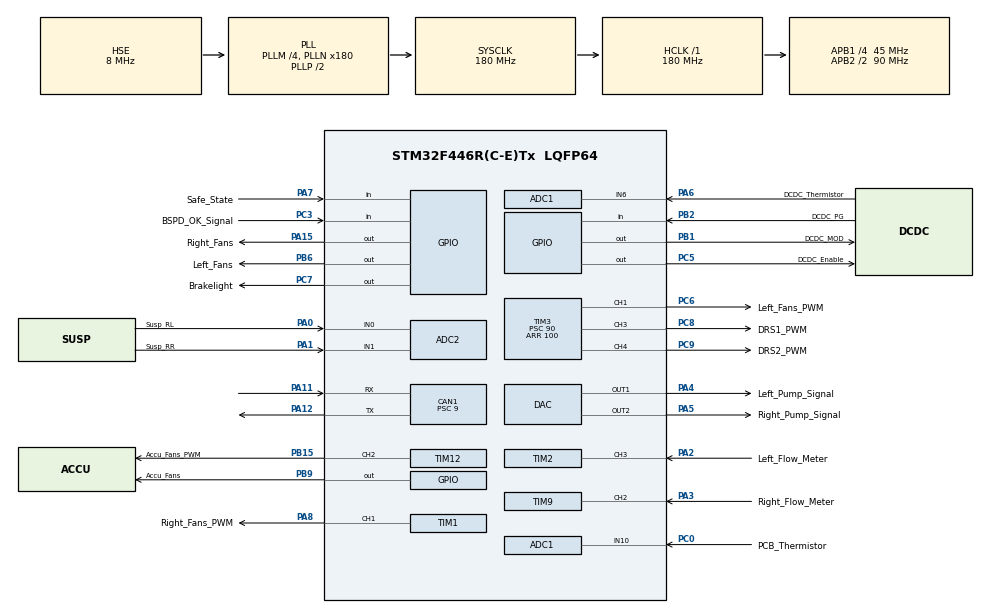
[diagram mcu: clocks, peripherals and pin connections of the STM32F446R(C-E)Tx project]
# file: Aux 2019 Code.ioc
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ADC1.Channel-0\#ChannelRegularConversion=ADC_CHANNEL_6
ADC1.Channel-1\#ChannelRegularConversion=ADC_CHANNEL_10
ADC1.Channel-2\#ChannelRegularConversion=ADC_CHANNEL_TEMPSENSOR
ADC1.ClockPrescaler=ADC_CLOCK_SYNC_PCLK_DIV4
ADC1.NbrOfConversion=3
ADC1.NbrOfConversionFlag=1
ADC1.Rank-0\#ChannelRegularConversion=1
ADC1.Rank-1\#ChannelRegularConversion=2
ADC1.Rank-2\#ChannelRegularConversion=3
ADC1.SamplingTime-0\#ChannelRegularConversion=ADC_SAMPLETIME_28CYCLES
ADC1.SamplingTime-1\#ChannelRegularConversion=ADC_SAMPLETIME_28CYCLES
ADC1.SamplingTime-2\#ChannelRegularConversion=ADC_SAMPLETIME_28CYCLES
ADC1.ScanConvMode=ENABLE
ADC1.master=1
ADC2.Channel-0\#ChannelRegularConversion=ADC_CHANNEL_0
ADC2.Channel-1\#ChannelRegularConversion=ADC_CHANNEL_1
ADC2.NbrOfConversion=2
ADC2.NbrOfConversionFlag=1
ADC2.Rank-0\#ChannelRegularConversion=1
ADC2.Rank-1\#ChannelRegularConversion=2
ADC2.SamplingTime-0\#ChannelRegularConversion=ADC_SAMPLETIME_28CYCLES
ADC2.SamplingTime-1\#ChannelRegularConversion=ADC_SAMPLETIME_28CYCLES
ADC2.ScanConvMode=ENABLE
CAN1.BS1=CAN_BS1_3TQ
CAN1.CalculateTimeQuantum=200.0
CAN1.Prescaler=9
Mcu.Family=STM32F4
Mcu.Name=STM32F446R(C-E)Tx
Mcu.Package=LQFP64
NVIC.CAN1_RX0_IRQn=true\:0\:0\:false\:false\:true\:true
NVIC.PriorityGroup=NVIC_PRIORITYGROUP_4
NVIC.TIM2_IRQn=true\:0\:0\:false\:false\:true\:true
NVIC.TIM4_IRQn=true\:0\:0\:false\:false\:true\:true
NVIC.TIM5_IRQn=true\:0\:0\:false\:false\:true\:true
PA0-WKUP.GPIO_Label=Susp_RL
PA0-WKUP.Signal=ADCx_IN0
PA1.GPIO_Label=Susp_RR
PA1.Signal=ADCx_IN1
PA11.Mode=Master
PA11.Signal=CAN1_RX
PA12.Mode=Master
PA12.Signal=CAN1_TX
PA13.Mode=Trace_Asynchronous_SW
PA13.Signal=SYS_JTMS-SWDIO
PA14.Mode=Trace_Asynchronous_SW
PA14.Signal=SYS_JTCK-SWCLK
PA15.GPIO_Label=Right_Fans
PA15.GPIO_PuPd=GPIO_PULLDOWN
PA15.Signal=GPIO_Output
PA2.GPIO_Label=Left_Flow_Meter
PA2.Signal=S_TIM2_CH3
PA3.GPIO_Label=Right_Flow_Meter
PA3.Signal=S_TIM9_CH2
PA4.GPIO_Label=Left_Pump_Signal
PA4.Signal=COMP_DAC1_group
PA5.GPIO_Label=Right_Pump_Signal
PA5.Signal=COMP_DAC2_group
PA6.GPIO_Label=DCDC_Thermistor
PA6.Signal=ADCx_IN6
PA7.GPIO_Label=Safe_State
PA7.Signal=GPIO_Input
PA8.GPIO_Label=Right_Fans_PWM
PA8.Signal=S_TIM1_CH1
PB1.GPIO_Label=DCDC_MOD
PB1.Signal=GPIO_Output
PB15.GPIO_Label=Accu_Fans_PWM
PB15.Signal=S_TIM12_CH2
PB2.GPIO_Label=DCDC_PG
PB2.Signal=GPIO_Input
PB3.Mode=Trace_Asynchronous_SW
PB3.Signal=SYS_JTDO-SWO
PB6.GPIO_Label=Left_Fans
PB6.GPIO_PuPd=GPIO_PULLDOWN
PB6.Signal=GPIO_Output
PB9.GPIO_Label=Accu_Fans
PB9.GPIO_PuPd=GPIO_PULLDOWN
PB9.Signal=GPIO_Output
PC0.GPIO_Label=PCB_Thermistor
PC0.Signal=ADCx_IN10
PC3.GPIO_Label=BSPD_OK_Signal
PC3.Signal=GPIO_Input
PC5.GPIO_Label=DCDC_Enable
PC5.Signal=GPIO_Output
PC6.GPIO_Label=Left_Fans_PWM
PC6.Signal=S_TIM3_CH1
PC7.GPIO_Label=Brakelight
PC7.GPIO_PuPd=GPIO_PULLDOWN
PC7.Signal=GPIO_Output
PC8.GPIO_Label=DRS1_PWM
PC8.Signal=S_TIM3_CH3
PC9.GPIO_Label=DRS2_PWM
PC9.Signal=S_TIM3_CH4
PH0-OSC_IN.Mode=HSE-External-Oscillator
PH0-OSC_IN.Signal=RCC_OSC_IN
PH1-OSC_OUT.Mode=HSE-External-Oscillator
PH1-OSC_OUT.Signal=RCC_OSC_OUT
ProjectManager.HeapSize=0x200
ProjectManager.StackSize=0x400
ProjectManager.TargetToolchain=MDK-ARM V5
RCC.AHBFreq_Value=180000000
RCC.APB1CLKDivider=RCC_HCLK_DIV4
RCC.APB1Freq_Value=45000000
RCC.APB1TimFreq_Value=90000000
RCC.APB2CLKDivider=RCC_HCLK_DIV2
RCC.APB2Freq_Value=90000000
RCC.APB2TimFreq_Value=180000000
RCC.CortexFreq_Value=180000000
RCC.HCLKFreq_Value=180000000
RCC.HSE_VALUE=8000000
RCC.PLLM=4
RCC.PLLN=180
RCC.PLLSourceVirtual=RCC_PLLSOURCE_HSE
RCC.SYSCLKFreq_VALUE=180000000
RCC.SYSCLKSource=RCC_SYSCLKSOURCE_PLLCLK
RCC.USBFreq_Value=180000000
RCC.VCOOutputFreq_Value=360000000
SH.ADCx_IN0.0=ADC2_IN0,IN0
SH.ADCx_IN1.0=ADC2_IN1,IN1
SH.ADCx_IN10.0=ADC1_IN10,IN10
SH.ADCx_IN6.0=ADC1_IN6,IN6
SH.COMP_DAC1_group.0=DAC_OUT1,DAC_OUT1
SH.COMP_DAC2_group.0=DAC_OUT2,DAC_OUT2
SH.S_TIM12_CH2.0=TIM12_CH2,PWM Generation2 CH2
SH.S_TIM1_CH1.0=TIM1_CH1,PWM Generation1 CH1
SH.S_TIM2_CH3.0=TIM2_CH3,Input_Capture3_from_TI3
SH.S_TIM3_CH1.0=TIM3_CH1,PWM Generation1 CH1
SH.S_TIM3_CH3.0=TIM3_CH3,PWM Generation3 CH3
SH.S_TIM3_CH4.0=TIM3_CH4,PWM Generation4 CH4
SH.S_TIM9_CH2.0=TIM9_CH2,Input_Capture2_from_TI2
TIM1.Channel-PWM\ Generation1\ CH1=TIM_CHANNEL_1
TIM1.Period=100
TIM1.Prescaler=180
TIM12.Channel-PWM\ Generation2\ CH2=TIM_CHANNEL_2
TIM12.Period=100
TIM12.Prescaler=90
TIM2.Channel-Input_Capture3_from_TI3=TIM_CHANNEL_3
TIM2.Period=1000
TIM2.Prescaler=90
TIM3.Channel-PWM\ Generation1\ CH1=TIM_CHANNEL_1
TIM3.Channel-PWM\ Generation3\ CH3=TIM_CHANNEL_3
TIM3.Channel-PWM\ Generation4\ CH4=TIM_CHANNEL_4
TIM3.Period=100
TIM3.Prescaler=90
TIM4.Period=1000
TIM4.Prescaler=90
TIM5.Period=10000
TIM5.Prescaler=90
TIM9.Channel-Input_Capture2_from_TI2=TIM_CHANNEL_2
VP_ADC1_TempSens_Input.Mode=IN-TempSens
VP_TIM4_VS_ClockSourceINT.Mode=Internal
VP_TIM5_VS_ClockSourceINT.Mode=Internal
board=custom

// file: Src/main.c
/* USER CODE BEGIN Header */
/**
  ******************************************************************************
  * @file           : main.c
  * @brief          : Main program body
  ******************************************************************************
  ** This notice applies to any and all portions of this file
  * that are not between comment pairs USER CODE BEGIN and
  * USER CODE END. Other portions of this file, whether
  * inserted by the user or by software development tools
  * are owned by their respective copyright owners.
  *
  * COPYRIGHT(c) 2019 STMicroelectronics
  *
  * Redistribution and use in source and binary forms, with or without modification,
  * are permitted provided that the following conditions are met:
  *   1. Redistributions of source code must retain the above copyright notice,
  *      this list of conditions and the following disclaimer.
  *   2. Redistributions in binary form must reproduce the above copyright notice,
  *      this list of conditions and the following disclaimer in the documentation
  *      and/or other materials provided with the distribution.
  *   3. Neither the name of STMicroelectronics nor the names of its contributors
  *      may be used to endorse or promote products derived from this software
  *      without specific prior written permission.
  *
  * THIS SOFTWARE IS PROVIDED BY THE COPYRIGHT HOLDERS AND CONTRIBUTORS "AS IS"
  * AND ANY EXPRESS OR IMPLIED WARRANTIES, INCLUDING, BUT NOT LIMITED TO, THE
  * IMPLIED WARRANTIES OF MERCHANTABILITY AND FITNESS FOR A PARTICULAR PURPOSE ARE
  * DISCLAIMED. IN NO EVENT SHALL THE COPYRIGHT HOLDER OR CONTRIBUTORS BE LIABLE
  * FOR ANY DIRECT, INDIRECT, INCIDENTAL, SPECIAL, EXEMPLARY, OR CONSEQUENTIAL
  * DAMAGES (INCLUDING, BUT NOT LIMITED TO, PROCUREMENT OF SUBSTITUTE GOODS OR
  * SERVICES; LOSS OF USE, DATA, OR PROFITS; OR BUSINESS INTERRUPTION) HOWEVER
  * CAUSED AND ON ANY THEORY OF LIABILITY, WHETHER IN CONTRACT, STRICT LIABILITY,
  * OR TORT (INCLUDING NEGLIGENCE OR OTHERWISE) ARISING IN ANY WAY OUT OF THE USE
  * OF THIS SOFTWARE, EVEN IF ADVISED OF THE POSSIBILITY OF SUCH DAMAGE.
  *
  ******************************************************************************
  */
/* USER CODE END Header */

#include "main.h"

ADC_HandleTypeDef hadc1;
ADC_HandleTypeDef hadc2;

CAN_HandleTypeDef hcan1;

DAC_HandleTypeDef hdac;

TIM_HandleTypeDef htim1;
TIM_HandleTypeDef htim2;
TIM_HandleTypeDef htim3;
TIM_HandleTypeDef htim4;
TIM_HandleTypeDef htim5;
TIM_HandleTypeDef htim9;
TIM_HandleTypeDef htim12;

/* USER CODE BEGIN PV */
CAN_RxHeaderTypeDef canRX;
CAN_TxHeaderTypeDef canTX;
CAN_FilterTypeDef sFilterConfig;

uint8_t CAN_1000Hz_Flag = 0;
uint8_t CAN_100Hz_Flag = 0;
uint8_t CAN_Rx_Flag = 0;
uint8_t CAN_Id = 0;
uint8_t CAN_Rx_Data[8] = {0,0,0,0,0,0,0,0};
uint8_t CAN_Tx_Data[8] = {0,0,0,0,0,0,0,0};
uint8_t CAN_Txing = 0;
uint16_t CAN_Msg_Id = 0;
uint32_t CAN_Tx_Mailbox = 0;

uint16_t Susp_RL = 0;
uint16_t Susp_RR = 0;
uint16_t PCB_Thermistor = 0;
uint16_t DCDC_Thermistor = 0;
uint16_t Flow_Meter_Right = 0;
uint16_t Flow_Meter_Left = 0;
uint16_t Core_Thermistor = 0;
uint8_t DRS1_PWM = 0;
uint8_t DRS2_PWM = 0;
uint8_t Left_Pump_Signal = 0;
uint8_t Right_Pump_Signal = 0;
uint8_t Accu_Fans_PWM = 0;
uint8_t Left_Fans_PWM = 0;
uint8_t Right_Fans_PWM = 0;
uint8_t Brakelight = 0;
uint8_t Left_Fans = 0;
uint8_t Right_Fans = 0;
uint8_t Accu_Fans = 0;
uint8_t BSPD_OK_Signal = 0;
uint8_t Safe_State = 0;
uint8_t DCDC_PG = 0;
/* USER CODE END PV */

void SystemClock_Config(void);
static void MX_GPIO_Init(void);
static void MX_CAN1_Init(void);
static void MX_ADC1_Init(void);
static void MX_ADC2_Init(void);
static void MX_DAC_Init(void);
static void MX_TIM1_Init(void);
static void MX_TIM3_Init(void);
static void MX_TIM12_Init(void);
static void MX_TIM2_Init(void);
static void MX_TIM4_Init(void);
static void MX_TIM5_Init(void);
static void MX_TIM9_Init(void);

int main(void)
{

  /* MCU Configuration--------------------------------------------------------*/

  /* Reset of all peripherals, Initializes the Flash interface and the Systick. */
  HAL_Init();

  /* Configure the system clock */
  SystemClock_Config();

  /* Initialize all configured peripherals */
  MX_GPIO_Init();
  MX_CAN1_Init();
  MX_ADC1_Init();
  MX_ADC2_Init();
  MX_DAC_Init();
  MX_TIM1_Init();
  MX_TIM3_Init();
  MX_TIM12_Init();
  MX_TIM2_Init();
  MX_TIM4_Init();
  MX_TIM5_Init();
  MX_TIM9_Init();
  /* USER CODE BEGIN 2 */
	HAL_TIM_IC_Start_IT(&htim2,TIM_CHANNEL_3);
	HAL_TIM_IC_Start_IT(&htim9,TIM_CHANNEL_2);
	HAL_TIM_Base_Start_IT(&htim4); //1kHz
	HAL_TIM_Base_Start_IT(&htim5); //100Hz
	HAL_TIM_PWM_Start(&htim1,TIM_CHANNEL_1);
	HAL_TIM_PWM_Start(&htim3,TIM_CHANNEL_1);
	HAL_TIM_PWM_Start(&htim3,TIM_CHANNEL_3);
	HAL_TIM_PWM_Start(&htim3,TIM_CHANNEL_4);
	HAL_TIM_PWM_Start(&htim12,TIM_CHANNEL_2);

	HAL_DAC_Start(&hdac, DAC_CHANNEL_1);
	HAL_DAC_Start(&hdac, DAC_CHANNEL_2);

	sFilterConfig.FilterBank = 0;
	sFilterConfig.FilterMode = CAN_FILTERMODE_IDMASK;
	sFilterConfig.FilterScale = CAN_FILTERSCALE_32BIT;
	sFilterConfig.FilterIdHigh = 0x0000;
	sFilterConfig.FilterIdLow = 0x0000;
	sFilterConfig.FilterMaskIdHigh = 0x0000;
	sFilterConfig.FilterMaskIdLow = 0x0000;
	sFilterConfig.FilterFIFOAssignment = 0x0000;
	sFilterConfig.FilterActivation = ENABLE;
	sFilterConfig.SlaveStartFilterBank = 14;

	if(HAL_CAN_ConfigFilter(&hcan1, &sFilterConfig) != HAL_OK)
	{
		/* Filter configuration Error */
		Error_Handler();
	}

	if(HAL_CAN_Start(&hcan1) != HAL_OK)
	{
		/* CAN Module 1 Start Error */
		Error_Handler();
	}

	if(HAL_CAN_ActivateNotification(&hcan1, CAN_IT_RX_FIFO0_MSG_PENDING) != HAL_OK)
	{
		/* CAN Module 1 Receive FIFO0 Interrupt Error */
		Error_Handler();
	}
  /* USER CODE END 2 */

  /* Infinite loop */
  /* USER CODE BEGIN WHILE */
  while (1)
  {
		if(CAN_1000Hz_Flag)
		{
			HAL_ADC_Start(&hadc2);
			HAL_ADC_PollForConversion(&hadc2,1);
			Susp_RL = HAL_ADC_GetValue(&hadc2);
			HAL_ADC_PollForConversion(&hadc2,1);
			Susp_RR = HAL_ADC_GetValue(&hadc2);
			HAL_ADC_Stop(&hadc2);

			canTX.StdId = 314;
			canTX.DLC = 4;

			CAN_Tx_Data[0] = (Susp_RL >> 8) & 255U;
			CAN_Tx_Data[1] = Susp_RL & 255U;
			CAN_Tx_Data[2] = (Susp_RR >> 8) & 255U;
			CAN_Tx_Data[3] = Susp_RR & 255U;

			if((HAL_CAN_AddTxMessage(&hcan1, &canTX, CAN_Tx_Data, &CAN_Tx_Mailbox) == HAL_OK))
			{
				CAN_Txing = 1;
			}

			while(HAL_CAN_IsTxMessagePending(&hcan1,CAN_Tx_Mailbox));
			CAN_Txing = 0;
			CAN_1000Hz_Flag = 0;
		}

		if(CAN_100Hz_Flag)
		{
			HAL_ADC_Start(&hadc1);
			HAL_ADC_PollForConversion(&hadc1,1);
			DCDC_Thermistor = HAL_ADC_GetValue(&hadc1);
			HAL_ADC_PollForConversion(&hadc1,1);
			PCB_Thermistor = HAL_ADC_GetValue(&hadc1);
			HAL_ADC_PollForConversion(&hadc1,1);
			Core_Thermistor = HAL_ADC_GetValue(&hadc1);
			HAL_ADC_Stop(&hadc1);

			canTX.StdId = 357;
			canTX.DLC = 8;

			CAN_Tx_Data[0] = (DCDC_Thermistor >> 8) & 255U;
			CAN_Tx_Data[1] = DCDC_Thermistor & 255U;
			CAN_Tx_Data[2] = (PCB_Thermistor >> 8) & 255U;
			CAN_Tx_Data[3] = PCB_Thermistor & 255U;
			CAN_Tx_Data[4] = (Core_Thermistor >> 8) & 255U;
			CAN_Tx_Data[5] = Core_Thermistor & 255U;

			if((HAL_CAN_AddTxMessage(&hcan1, &canTX, CAN_Tx_Data, &CAN_Tx_Mailbox) == HAL_OK))
			{
				CAN_Txing = 1;
			}

			while(HAL_CAN_IsTxMessagePending(&hcan1,CAN_Tx_Mailbox));
			CAN_Txing = 0;

			BSPD_OK_Signal = HAL_GPIO_ReadPin(BSPD_OK_Signal_GPIO_Port,BSPD_OK_Signal_Pin);
			DCDC_PG = HAL_GPIO_ReadPin(DCDC_PG_GPIO_Port,DCDC_PG_Pin);
			Safe_State = HAL_GPIO_ReadPin(Safe_State_GPIO_Port,Safe_State_Pin);

			canTX.StdId = 384;
			canTX.DLC = 7;

			CAN_Tx_Data[0] = (Flow_Meter_Right >> 8) & 255U;
			CAN_Tx_Data[1] = Flow_Meter_Right;
			CAN_Tx_Data[2] = (Flow_Meter_Left >> 8) & 255U;
			CAN_Tx_Data[3] = Flow_Meter_Left;
			CAN_Tx_Data[4] = (13*BSPD_OK_Signal) & 255U;
			CAN_Tx_Data[5] = (13*DCDC_PG) & 255U;
			CAN_Tx_Data[6] = (13*Safe_State) & 255U;

			if((HAL_CAN_AddTxMessage(&hcan1, &canTX, CAN_Tx_Data, &CAN_Tx_Mailbox) == HAL_OK))
			{
				CAN_Txing = 1;
			}

			while(HAL_CAN_IsTxMessagePending(&hcan1,CAN_Tx_Mailbox));
			CAN_Txing = 0;

			CAN_100Hz_Flag = 0;
		}

		if(CAN_Rx_Flag)
		{
			if(canRX.StdId == 412)
			{
				//DRS1_PWM = CAN_Rx_Data[0];
				Left_Pump_Signal = CAN_Rx_Data[0];
				Right_Pump_Signal = CAN_Rx_Data[1];
				Accu_Fans_PWM = CAN_Rx_Data[2];
				Left_Fans_PWM = CAN_Rx_Data[3];
				Right_Fans_PWM = CAN_Rx_Data[4];
				Accu_Fans = CAN_Rx_Data[5];
				Left_Fans = CAN_Rx_Data[6];
				Right_Fans = CAN_Rx_Data[7];

			  __HAL_TIM_SetCompare(&htim3, TIM_CHANNEL_3, DRS1_PWM);
				__HAL_TIM_SetCompare(&htim3, TIM_CHANNEL_4, DRS2_PWM);
				__HAL_TIM_SetCompare(&htim3, TIM_CHANNEL_1, Left_Fans_PWM);
				__HAL_TIM_SetCompare(&htim1, TIM_CHANNEL_1, Right_Fans_PWM);
				__HAL_TIM_SetCompare(&htim12, TIM_CHANNEL_2, Accu_Fans_PWM);

				HAL_DAC_SetValue(&hdac, DAC_CHANNEL_1, DAC_ALIGN_12B_R, 4095 * ((float) Left_Pump_Signal / 100));
				HAL_DAC_SetValue(&hdac, DAC_CHANNEL_2, DAC_ALIGN_12B_R, 4095 * ((float) Right_Pump_Signal / 100));

				if(Left_Fans == 13)
				{
					HAL_GPIO_WritePin(Left_Fans_GPIO_Port, Left_Fans_Pin, GPIO_PIN_SET);
				}
				else
				{
					HAL_GPIO_WritePin(Left_Fans_GPIO_Port, Left_Fans_Pin, GPIO_PIN_RESET);
				}

				if(Right_Fans == 13)
				{
					HAL_GPIO_WritePin(Right_Fans_GPIO_Port, Right_Fans_Pin, GPIO_PIN_SET);
				}
				else
				{
					HAL_GPIO_WritePin(Right_Fans_GPIO_Port, Right_Fans_Pin, GPIO_PIN_RESET);
				}

				if(Accu_Fans == 13)
				{
					HAL_GPIO_WritePin(Accu_Fans_GPIO_Port, Accu_Fans_Pin, GPIO_PIN_SET);
				}
				else
				{
					HAL_GPIO_WritePin(Accu_Fans_GPIO_Port, Accu_Fans_Pin, GPIO_PIN_RESET);
				}
			}

			if(canRX.StdId == 166)
			{
				Brakelight = CAN_Rx_Data[0] & 255U;

				if(Brakelight == 166)
				{
					HAL_GPIO_WritePin(Brakelight_GPIO_Port, Brakelight_Pin, GPIO_PIN_SET);
				}
				else
				{
					HAL_GPIO_WritePin(Brakelight_GPIO_Port, Brakelight_Pin, GPIO_PIN_RESET);
				}
			}
			CAN_Rx_Flag = 0;
		}
    /* USER CODE END WHILE */

  }
}

void SystemClock_Config(void)
{
  RCC_OscInitTypeDef RCC_OscInitStruct = {0};
  RCC_ClkInitTypeDef RCC_ClkInitStruct = {0};

  /**Configure the main internal regulator output voltage
  */
  __HAL_RCC_PWR_CLK_ENABLE();
  __HAL_PWR_VOLTAGESCALING_CONFIG(PWR_REGULATOR_VOLTAGE_SCALE1);
  /**Initializes the CPU, AHB and APB busses clocks
  */
  RCC_OscInitStruct.OscillatorType = RCC_OSCILLATORTYPE_HSE;
  RCC_OscInitStruct.HSEState = RCC_HSE_ON;
  RCC_OscInitStruct.PLL.PLLState = RCC_PLL_ON;
  RCC_OscInitStruct.PLL.PLLSource = RCC_PLLSOURCE_HSE;
  RCC_OscInitStruct.PLL.PLLM = 4;
  RCC_OscInitStruct.PLL.PLLN = 180;
  RCC_OscInitStruct.PLL.PLLP = RCC_PLLP_DIV2;
  RCC_OscInitStruct.PLL.PLLQ = 2;
  RCC_OscInitStruct.PLL.PLLR = 2;
  if (HAL_RCC_OscConfig(&RCC_OscInitStruct) != HAL_OK)
  {
    Error_Handler();
  }
  /**Activate the Over-Drive mode
  */
  if (HAL_PWREx_EnableOverDrive() != HAL_OK)
  {
    Error_Handler();
  }
  /**Initializes the CPU, AHB and APB busses clocks
  */
  RCC_ClkInitStruct.ClockType = RCC_CLOCKTYPE_HCLK|RCC_CLOCKTYPE_SYSCLK
                              |RCC_CLOCKTYPE_PCLK1|RCC_CLOCKTYPE_PCLK2;
  RCC_ClkInitStruct.SYSCLKSource = RCC_SYSCLKSOURCE_PLLCLK;
  RCC_ClkInitStruct.AHBCLKDivider = RCC_SYSCLK_DIV1;
  RCC_ClkInitStruct.APB1CLKDivider = RCC_HCLK_DIV4;
  RCC_ClkInitStruct.APB2CLKDivider = RCC_HCLK_DIV2;

  if (HAL_RCC_ClockConfig(&RCC_ClkInitStruct, FLASH_LATENCY_5) != HAL_OK)
  {
    Error_Handler();
  }
}

static void MX_ADC1_Init(void)
{

  ADC_ChannelConfTypeDef sConfig = {0};

  /**Configure the global features of the ADC (Clock, Resolution, Data Alignment and number of conversion)
  */
  hadc1.Instance = ADC1;
  hadc1.Init.ClockPrescaler = ADC_CLOCK_SYNC_PCLK_DIV4;
  hadc1.Init.Resolution = ADC_RESOLUTION_12B;
  hadc1.Init.ScanConvMode = ENABLE;
  hadc1.Init.ContinuousConvMode = DISABLE;
  hadc1.Init.DiscontinuousConvMode = DISABLE;
  hadc1.Init.ExternalTrigConvEdge = ADC_EXTERNALTRIGCONVEDGE_NONE;
  hadc1.Init.ExternalTrigConv = ADC_SOFTWARE_START;
  hadc1.Init.DataAlign = ADC_DATAALIGN_RIGHT;
  hadc1.Init.NbrOfConversion = 3;
  hadc1.Init.DMAContinuousRequests = DISABLE;
  hadc1.Init.EOCSelection = ADC_EOC_SINGLE_CONV;
  if (HAL_ADC_Init(&hadc1) != HAL_OK)
  {
    Error_Handler();
  }
  /**Configure for the selected ADC regular channel its corresponding rank in the sequencer and its sample time.
  */
  sConfig.Channel = ADC_CHANNEL_6;
  sConfig.Rank = 1;
  sConfig.SamplingTime = ADC_SAMPLETIME_28CYCLES;
  if (HAL_ADC_ConfigChannel(&hadc1, &sConfig) != HAL_OK)
  {
    Error_Handler();
  }
  /**Configure for the selected ADC regular channel its corresponding rank in the sequencer and its sample time.
  */
  sConfig.Channel = ADC_CHANNEL_10;
  sConfig.Rank = 2;
  if (HAL_ADC_ConfigChannel(&hadc1, &sConfig) != HAL_OK)
  {
    Error_Handler();
  }
  /**Configure for the selected ADC regular channel its corresponding rank in the sequencer and its sample time.
  */
  sConfig.Channel = ADC_CHANNEL_TEMPSENSOR;
  sConfig.Rank = 3;
  if (HAL_ADC_ConfigChannel(&hadc1, &sConfig) != HAL_OK)
  {
    Error_Handler();
  }

}

static void MX_ADC2_Init(void)
{

  ADC_ChannelConfTypeDef sConfig = {0};

  /**Configure the global features of the ADC (Clock, Resolution, Data Alignment and number of conversion)
  */
  hadc2.Instance = ADC2;
  hadc2.Init.ClockPrescaler = ADC_CLOCK_SYNC_PCLK_DIV4;
  hadc2.Init.Resolution = ADC_RESOLUTION_12B;
  hadc2.Init.ScanConvMode = ENABLE;
  hadc2.Init.ContinuousConvMode = DISABLE;
  hadc2.Init.DiscontinuousConvMode = DISABLE;
  hadc2.Init.ExternalTrigConvEdge = ADC_EXTERNALTRIGCONVEDGE_NONE;
  hadc2.Init.ExternalTrigConv = ADC_SOFTWARE_START;
  hadc2.Init.DataAlign = ADC_DATAALIGN_RIGHT;
  hadc2.Init.NbrOfConversion = 2;
  hadc2.Init.DMAContinuousRequests = DISABLE;
  hadc2.Init.EOCSelection = ADC_EOC_SINGLE_CONV;
  if (HAL_ADC_Init(&hadc2) != HAL_OK)
  {
    Error_Handler();
  }
  /**Configure for the selected ADC regular channel its corresponding rank in the sequencer and its sample time.
  */
  sConfig.Channel = ADC_CHANNEL_0;
  sConfig.Rank = 1;
  sConfig.SamplingTime = ADC_SAMPLETIME_28CYCLES;
  if (HAL_ADC_ConfigChannel(&hadc2, &sConfig) != HAL_OK)
  {
    Error_Handler();
  }
  /**Configure for the selected ADC regular channel its corresponding rank in the sequencer and its sample time.
  */
  sConfig.Channel = ADC_CHANNEL_1;
  sConfig.Rank = 2;
  if (HAL_ADC_ConfigChannel(&hadc2, &sConfig) != HAL_OK)
  {
    Error_Handler();
  }

}

static void MX_CAN1_Init(void)
{

  hcan1.Instance = CAN1;
  hcan1.Init.Prescaler = 9;
  hcan1.Init.Mode = CAN_MODE_NORMAL;
  hcan1.Init.SyncJumpWidth = CAN_SJW_1TQ;
  hcan1.Init.TimeSeg1 = CAN_BS1_3TQ;
  hcan1.Init.TimeSeg2 = CAN_BS2_1TQ;
  hcan1.Init.TimeTriggeredMode = DISABLE;
  hcan1.Init.AutoBusOff = DISABLE;
  hcan1.Init.AutoWakeUp = DISABLE;
  hcan1.Init.AutoRetransmission = DISABLE;
  hcan1.Init.ReceiveFifoLocked = DISABLE;
  hcan1.Init.TransmitFifoPriority = DISABLE;
  if (HAL_CAN_Init(&hcan1) != HAL_OK)
  {
    Error_Handler();
  }

}

static void MX_DAC_Init(void)
{

  DAC_ChannelConfTypeDef sConfig = {0};

  /**DAC Initialization
  */
  hdac.Instance = DAC;
  if (HAL_DAC_Init(&hdac) != HAL_OK)
  {
    Error_Handler();
  }
  /**DAC channel OUT1 config
  */
  sConfig.DAC_Trigger = DAC_TRIGGER_NONE;
  sConfig.DAC_OutputBuffer = DAC_OUTPUTBUFFER_ENABLE;
  if (HAL_DAC_ConfigChannel(&hdac, &sConfig, DAC_CHANNEL_1) != HAL_OK)
  {
    Error_Handler();
  }
  /**DAC channel OUT2 config
  */
  if (HAL_DAC_ConfigChannel(&hdac, &sConfig, DAC_CHANNEL_2) != HAL_OK)
  {
    Error_Handler();
  }

}

static void MX_TIM1_Init(void)
{

  TIM_MasterConfigTypeDef sMasterConfig = {0};
  TIM_OC_InitTypeDef sConfigOC = {0};
  TIM_BreakDeadTimeConfigTypeDef sBreakDeadTimeConfig = {0};

  htim1.Instance = TIM1;
  htim1.Init.Prescaler = 180;
  htim1.Init.CounterMode = TIM_COUNTERMODE_UP;
  htim1.Init.Period = 100;
  htim1.Init.ClockDivision = TIM_CLOCKDIVISION_DIV1;
  htim1.Init.RepetitionCounter = 0;
  if (HAL_TIM_PWM_Init(&htim1) != HAL_OK)
  {
    Error_Handler();
  }
  sMasterConfig.MasterOutputTrigger = TIM_TRGO_RESET;
  sMasterConfig.MasterSlaveMode = TIM_MASTERSLAVEMODE_DISABLE;
  if (HAL_TIMEx_MasterConfigSynchronization(&htim1, &sMasterConfig) != HAL_OK)
  {
    Error_Handler();
  }
  sConfigOC.OCMode = TIM_OCMODE_PWM1;
  sConfigOC.Pulse = 0;
  sConfigOC.OCPolarity = TIM_OCPOLARITY_HIGH;
  sConfigOC.OCNPolarity = TIM_OCNPOLARITY_HIGH;
  sConfigOC.OCFastMode = TIM_OCFAST_DISABLE;
  sConfigOC.OCIdleState = TIM_OCIDLESTATE_RESET;
  sConfigOC.OCNIdleState = TIM_OCNIDLESTATE_RESET;
  if (HAL_TIM_PWM_ConfigChannel(&htim1, &sConfigOC, TIM_CHANNEL_1) != HAL_OK)
  {
    Error_Handler();
  }
  sBreakDeadTimeConfig.OffStateRunMode = TIM_OSSR_DISABLE;
  sBreakDeadTimeConfig.OffStateIDLEMode = TIM_OSSI_DISABLE;
  sBreakDeadTimeConfig.LockLevel = TIM_LOCKLEVEL_OFF;
  sBreakDeadTimeConfig.DeadTime = 0;
  sBreakDeadTimeConfig.BreakState = TIM_BREAK_DISABLE;
  sBreakDeadTimeConfig.BreakPolarity = TIM_BREAKPOLARITY_HIGH;
  sBreakDeadTimeConfig.AutomaticOutput = TIM_AUTOMATICOUTPUT_DISABLE;
  if (HAL_TIMEx_ConfigBreakDeadTime(&htim1, &sBreakDeadTimeConfig) != HAL_OK)
  {
    Error_Handler();
  }
  HAL_TIM_MspPostInit(&htim1);

}

static void MX_TIM2_Init(void)
{

  TIM_MasterConfigTypeDef sMasterConfig = {0};
  TIM_IC_InitTypeDef sConfigIC = {0};

  htim2.Instance = TIM2;
  htim2.Init.Prescaler = 90;
  htim2.Init.CounterMode = TIM_COUNTERMODE_UP;
  htim2.Init.Period = 1000;
  htim2.Init.ClockDivision = TIM_CLOCKDIVISION_DIV1;
  if (HAL_TIM_IC_Init(&htim2) != HAL_OK)
  {
    Error_Handler();
  }
  sMasterConfig.MasterOutputTrigger = TIM_TRGO_RESET;
  sMasterConfig.MasterSlaveMode = TIM_MASTERSLAVEMODE_DISABLE;
  if (HAL_TIMEx_MasterConfigSynchronization(&htim2, &sMasterConfig) != HAL_OK)
  {
    Error_Handler();
  }
  sConfigIC.ICPolarity = TIM_INPUTCHANNELPOLARITY_RISING;
  sConfigIC.ICSelection = TIM_ICSELECTION_DIRECTTI;
  sConfigIC.ICPrescaler = TIM_ICPSC_DIV1;
  sConfigIC.ICFilter = 0;
  if (HAL_TIM_IC_ConfigChannel(&htim2, &sConfigIC, TIM_CHANNEL_3) != HAL_OK)
  {
    Error_Handler();
  }

}

static void MX_TIM3_Init(void)
{

  TIM_MasterConfigTypeDef sMasterConfig = {0};
  TIM_OC_InitTypeDef sConfigOC = {0};

  htim3.Instance = TIM3;
  htim3.Init.Prescaler = 90;
  htim3.Init.CounterMode = TIM_COUNTERMODE_UP;
  htim3.Init.Period = 100;
  htim3.Init.ClockDivision = TIM_CLOCKDIVISION_DIV1;
  if (HAL_TIM_PWM_Init(&htim3) != HAL_OK)
  {
    Error_Handler();
  }
  sMasterConfig.MasterOutputTrigger = TIM_TRGO_RESET;
  sMasterConfig.MasterSlaveMode = TIM_MASTERSLAVEMODE_DISABLE;
  if (HAL_TIMEx_MasterConfigSynchronization(&htim3, &sMasterConfig) != HAL_OK)
  {
    Error_Handler();
  }
  sConfigOC.OCMode = TIM_OCMODE_PWM1;
  sConfigOC.Pulse = 0;
  sConfigOC.OCPolarity = TIM_OCPOLARITY_HIGH;
  sConfigOC.OCFastMode = TIM_OCFAST_DISABLE;
  if (HAL_TIM_PWM_ConfigChannel(&htim3, &sConfigOC, TIM_CHANNEL_1) != HAL_OK)
  {
    Error_Handler();
  }
  if (HAL_TIM_PWM_ConfigChannel(&htim3, &sConfigOC, TIM_CHANNEL_3) != HAL_OK)
  {
    Error_Handler();
  }
  if (HAL_TIM_PWM_ConfigChannel(&htim3, &sConfigOC, TIM_CHANNEL_4) != HAL_OK)
  {
    Error_Handler();
  }
  HAL_TIM_MspPostInit(&htim3);

}

static void MX_TIM4_Init(void)
{

  TIM_ClockConfigTypeDef sClockSourceConfig = {0};
  TIM_MasterConfigTypeDef sMasterConfig = {0};

  htim4.Instance = TIM4;
  htim4.Init.Prescaler = 90;
  htim4.Init.CounterMode = TIM_COUNTERMODE_UP;
  htim4.Init.Period = 1000;
  htim4.Init.ClockDivision = TIM_CLOCKDIVISION_DIV1;
  if (HAL_TIM_Base_Init(&htim4) != HAL_OK)
  {
    Error_Handler();
  }
  sClockSourceConfig.ClockSource = TIM_CLOCKSOURCE_INTERNAL;
  if (HAL_TIM_ConfigClockSource(&htim4, &sClockSourceConfig) != HAL_OK)
  {
    Error_Handler();
  }
  sMasterConfig.MasterOutputTrigger = TIM_TRGO_RESET;
  sMasterConfig.MasterSlaveMode = TIM_MASTERSLAVEMODE_DISABLE;
  if (HAL_TIMEx_MasterConfigSynchronization(&htim4, &sMasterConfig) != HAL_OK)
  {
    Error_Handler();
  }

}

static void MX_TIM5_Init(void)
{

  TIM_ClockConfigTypeDef sClockSourceConfig = {0};
  TIM_MasterConfigTypeDef sMasterConfig = {0};

  htim5.Instance = TIM5;
  htim5.Init.Prescaler = 90;
  htim5.Init.CounterMode = TIM_COUNTERMODE_UP;
  htim5.Init.Period = 10000;
  htim5.Init.ClockDivision = TIM_CLOCKDIVISION_DIV1;
  if (HAL_TIM_Base_Init(&htim5) != HAL_OK)
  {
    Error_Handler();
  }
  sClockSourceConfig.ClockSource = TIM_CLOCKSOURCE_INTERNAL;
  if (HAL_TIM_ConfigClockSource(&htim5, &sClockSourceConfig) != HAL_OK)
  {
    Error_Handler();
  }
  sMasterConfig.MasterOutputTrigger = TIM_TRGO_RESET;
  sMasterConfig.MasterSlaveMode = TIM_MASTERSLAVEMODE_DISABLE;
  if (HAL_TIMEx_MasterConfigSynchronization(&htim5, &sMasterConfig) != HAL_OK)
  {
    Error_Handler();
  }

}

static void MX_TIM9_Init(void)
{

  TIM_IC_InitTypeDef sConfigIC = {0};

  htim9.Instance = TIM9;
  htim9.Init.Prescaler = 0;
  htim9.Init.CounterMode = TIM_COUNTERMODE_UP;
  htim9.Init.Period = 0;
  htim9.Init.ClockDivision = TIM_CLOCKDIVISION_DIV1;
  if (HAL_TIM_IC_Init(&htim9) != HAL_OK)
  {
    Error_Handler();
  }
  sConfigIC.ICPolarity = TIM_INPUTCHANNELPOLARITY_RISING;
  sConfigIC.ICSelection = TIM_ICSELECTION_DIRECTTI;
  sConfigIC.ICPrescaler = TIM_ICPSC_DIV1;
  sConfigIC.ICFilter = 0;
  if (HAL_TIM_IC_ConfigChannel(&htim9, &sConfigIC, TIM_CHANNEL_2) != HAL_OK)
  {
    Error_Handler();
  }

}

static void MX_TIM12_Init(void)
{

  TIM_OC_InitTypeDef sConfigOC = {0};

  htim12.Instance = TIM12;
  htim12.Init.Prescaler = 90;
  htim12.Init.CounterMode = TIM_COUNTERMODE_UP;
  htim12.Init.Period = 100;
  htim12.Init.ClockDivision = TIM_CLOCKDIVISION_DIV1;
  if (HAL_TIM_PWM_Init(&htim12) != HAL_OK)
  {
    Error_Handler();
  }
  sConfigOC.OCMode = TIM_OCMODE_PWM1;
  sConfigOC.Pulse = 0;
  sConfigOC.OCPolarity = TIM_OCPOLARITY_HIGH;
  sConfigOC.OCFastMode = TIM_OCFAST_DISABLE;
  if (HAL_TIM_PWM_ConfigChannel(&htim12, &sConfigOC, TIM_CHANNEL_2) != HAL_OK)
  {
    Error_Handler();
  }
  HAL_TIM_MspPostInit(&htim12);

}

static void MX_GPIO_Init(void)
{
  GPIO_InitTypeDef GPIO_InitStruct = {0};

  /* GPIO Ports Clock Enable */
  __HAL_RCC_GPIOH_CLK_ENABLE();
  __HAL_RCC_GPIOC_CLK_ENABLE();
  __HAL_RCC_GPIOA_CLK_ENABLE();
  __HAL_RCC_GPIOB_CLK_ENABLE();

  /*Configure GPIO pin Output Level */
  HAL_GPIO_WritePin(GPIOC, DCDC_Enable_Pin|Brakelight_Pin, GPIO_PIN_RESET);

  /*Configure GPIO pin Output Level */
  HAL_GPIO_WritePin(GPIOB, DCDC_MOD_Pin|Left_Fans_Pin|Accu_Fans_Pin, GPIO_PIN_RESET);

  /*Configure GPIO pin Output Level */
  HAL_GPIO_WritePin(Right_Fans_GPIO_Port, Right_Fans_Pin, GPIO_PIN_RESET);

  /*Configure GPIO pin : BSPD_OK_Signal_Pin */
  GPIO_InitStruct.Pin = BSPD_OK_Signal_Pin;
  GPIO_InitStruct.Mode = GPIO_MODE_INPUT;
  GPIO_InitStruct.Pull = GPIO_NOPULL;
  HAL_GPIO_Init(BSPD_OK_Signal_GPIO_Port, &GPIO_InitStruct);

  /*Configure GPIO pin : Safe_State_Pin */
  GPIO_InitStruct.Pin = Safe_State_Pin;
  GPIO_InitStruct.Mode = GPIO_MODE_INPUT;
  GPIO_InitStruct.Pull = GPIO_NOPULL;
  HAL_GPIO_Init(Safe_State_GPIO_Port, &GPIO_InitStruct);

  /*Configure GPIO pin : DCDC_Enable_Pin */
  GPIO_InitStruct.Pin = DCDC_Enable_Pin;
  GPIO_InitStruct.Mode = GPIO_MODE_OUTPUT_PP;
  GPIO_InitStruct.Pull = GPIO_NOPULL;
  GPIO_InitStruct.Speed = GPIO_SPEED_FREQ_LOW;
  HAL_GPIO_Init(DCDC_Enable_GPIO_Port, &GPIO_InitStruct);

  /*Configure GPIO pin : DCDC_MOD_Pin */
  GPIO_InitStruct.Pin = DCDC_MOD_Pin;
  GPIO_InitStruct.Mode = GPIO_MODE_OUTPUT_PP;
  GPIO_InitStruct.Pull = GPIO_NOPULL;
  GPIO_InitStruct.Speed = GPIO_SPEED_FREQ_LOW;
  HAL_GPIO_Init(DCDC_MOD_GPIO_Port, &GPIO_InitStruct);

  /*Configure GPIO pin : DCDC_PG_Pin */
  GPIO_InitStruct.Pin = DCDC_PG_Pin;
  GPIO_InitStruct.Mode = GPIO_MODE_INPUT;
  GPIO_InitStruct.Pull = GPIO_NOPULL;
  HAL_GPIO_Init(DCDC_PG_GPIO_Port, &GPIO_InitStruct);

  /*Configure GPIO pin : Brakelight_Pin */
  GPIO_InitStruct.Pin = Brakelight_Pin;
  GPIO_InitStruct.Mode = GPIO_MODE_OUTPUT_PP;
  GPIO_InitStruct.Pull = GPIO_PULLDOWN;
  GPIO_InitStruct.Speed = GPIO_SPEED_FREQ_LOW;
  HAL_GPIO_Init(Brakelight_GPIO_Port, &GPIO_InitStruct);

  /*Configure GPIO pin : Right_Fans_Pin */
  GPIO_InitStruct.Pin = Right_Fans_Pin;
  GPIO_InitStruct.Mode = GPIO_MODE_OUTPUT_PP;
  GPIO_InitStruct.Pull = GPIO_PULLDOWN;
  GPIO_InitStruct.Speed = GPIO_SPEED_FREQ_LOW;
  HAL_GPIO_Init(Right_Fans_GPIO_Port, &GPIO_InitStruct);

  /*Configure GPIO pins : Left_Fans_Pin Accu_Fans_Pin */
  GPIO_InitStruct.Pin = Left_Fans_Pin|Accu_Fans_Pin;
  GPIO_InitStruct.Mode = GPIO_MODE_OUTPUT_PP;
  GPIO_InitStruct.Pull = GPIO_PULLDOWN;
  GPIO_InitStruct.Speed = GPIO_SPEED_FREQ_LOW;
  HAL_GPIO_Init(GPIOB, &GPIO_InitStruct);

}

/* USER CODE BEGIN 4 */
void HAL_TIM_IC_CaptureCallback(TIM_HandleTypeDef *htim)
{
  if(htim->Instance == TIM9)
	{
		Flow_Meter_Right++;
	}
	else if(htim->Instance == TIM2)
	{
		Flow_Meter_Left++;
	}
}

void HAL_TIM_PeriodElapsedCallback(TIM_HandleTypeDef *htim)
{
  if(htim->Instance == TIM4)
	{
		CAN_1000Hz_Flag = 1;
	}
	else if(htim->Instance == TIM5)
	{
		CAN_100Hz_Flag = 1;
	}
}

void HAL_CAN_RxFifo0MsgPendingCallback(CAN_HandleTypeDef *hcan)
{
	if (hcan == &hcan1)
	{
		CAN_Rx_Flag = 1;
		HAL_CAN_GetRxMessage(&hcan1, CAN_FILTER_FIFO0, &canRX, CAN_Rx_Data);
	}
}
/* USER CODE END 4 */

void Error_Handler(void)
{
}

/************************ (C) COPYRIGHT STMicroelectronics *****END OF FILE****/
